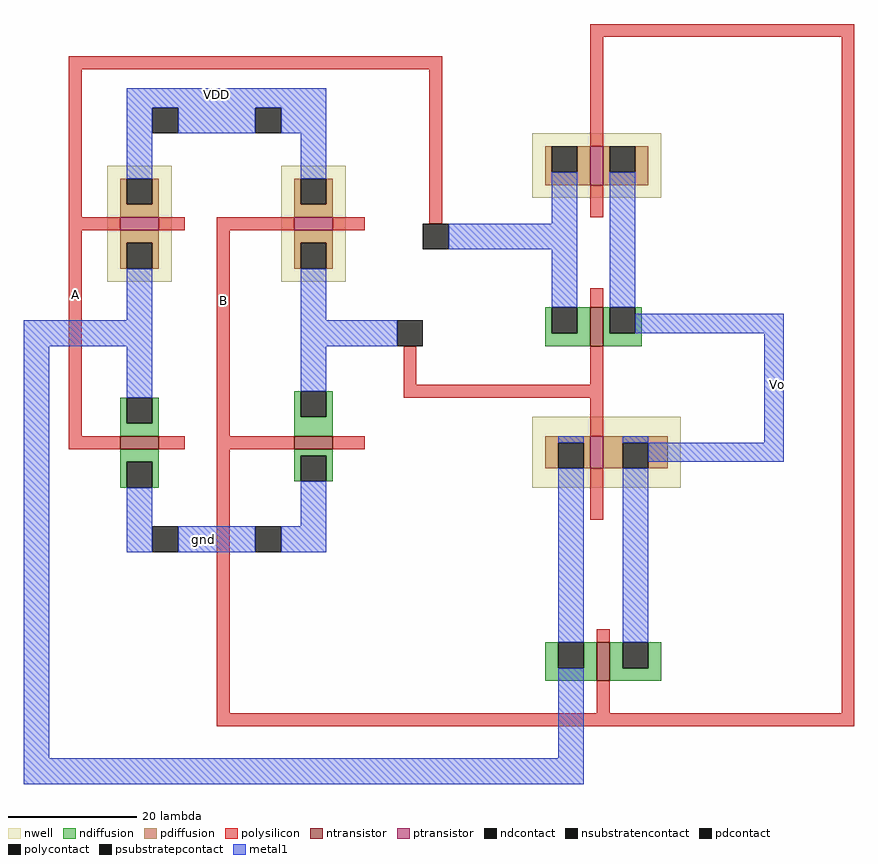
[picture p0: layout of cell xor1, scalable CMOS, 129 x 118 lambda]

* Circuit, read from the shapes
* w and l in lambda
.subckt xor1 A B VDD Vo gnd
M1 n1 A gnd gnd nfet w=6 l=2
M2 n2 B gnd gnd nfet w=6 l=2
M3 Vo n2 A gnd nfet w=6 l=2
M4 Vo B n1 gnd nfet w=6 l=2
M5 VDD A n1 n3 pfet w=6 l=2
M6 VDD B n2 n4 pfet w=6 l=2
M7 Vo n2 n1 n5 pfet w=5 l=2
M8 Vo B A n6 pfet w=6 l=2
.ends

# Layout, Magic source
magic
tech scmos
<< nwell >>
rect -20 -2 -10 16
rect 7 -2 17 16
rect 46 11 66 21
rect 46 -34 69 -23
<< polysilicon >>
rect 55 36 96 38
rect -26 31 32 33
rect -26 8 -24 31
rect -26 6 -18 8
rect -12 6 -8 8
rect -3 6 9 8
rect 15 6 20 8
rect 30 7 32 31
rect 55 19 57 36
rect 55 8 57 13
rect -26 -26 -24 6
rect -3 -26 -1 6
rect 55 -6 57 -3
rect 26 -18 28 -12
rect 55 -18 57 -12
rect 26 -20 57 -18
rect 55 -26 57 -20
rect -26 -28 -18 -26
rect -12 -28 -8 -26
rect -3 -28 9 -26
rect 15 -28 20 -26
rect -3 -69 -1 -28
rect 55 -39 57 -31
rect 56 -58 58 -56
rect 56 -69 58 -64
rect 94 -69 96 36
rect -3 -71 96 -69
<< ndiffusion >>
rect -18 -24 -17 -20
rect -13 -24 -12 -20
rect -18 -26 -12 -24
rect 48 -10 49 -6
rect 53 -10 55 -6
rect 48 -12 55 -10
rect 57 -10 58 -6
rect 62 -10 63 -6
rect 57 -12 63 -10
rect 9 -23 10 -19
rect 14 -23 15 -19
rect 9 -26 15 -23
rect -18 -30 -12 -28
rect -18 -34 -17 -30
rect -13 -34 -12 -30
rect 9 -29 15 -28
rect 9 -33 10 -29
rect 14 -33 15 -29
rect 48 -62 50 -58
rect 54 -62 56 -58
rect 48 -64 56 -62
rect 58 -62 60 -58
rect 64 -62 66 -58
rect 58 -64 66 -62
<< pdiffusion >>
rect -18 10 -17 14
rect -13 10 -12 14
rect -18 8 -12 10
rect 9 10 10 14
rect 14 10 15 14
rect 9 8 15 10
rect 48 15 49 19
rect 53 15 55 19
rect 48 13 55 15
rect 57 15 58 19
rect 62 15 64 19
rect 57 13 64 15
rect -18 4 -12 6
rect -18 0 -17 4
rect -13 0 -12 4
rect 9 4 15 6
rect 9 0 10 4
rect 14 0 15 4
rect 48 -27 55 -26
rect 48 -31 50 -27
rect 54 -31 55 -27
rect 57 -27 67 -26
rect 57 -31 60 -27
rect 64 -31 67 -27
<< metal1 >>
rect -17 25 14 28
rect -17 14 -13 25
rect -9 21 3 25
rect 7 21 14 25
rect 10 14 14 21
rect 49 7 53 15
rect -17 -8 -13 0
rect -33 -12 -13 -8
rect -33 -76 -29 -12
rect -17 -20 -13 -12
rect 33 3 53 7
rect 10 -8 14 0
rect 49 -6 53 3
rect 10 -12 25 -8
rect 58 -6 62 15
rect 62 -10 85 -7
rect 10 -19 14 -12
rect 50 -27 54 -26
rect -17 -44 -13 -34
rect 10 -40 14 -33
rect -9 -44 3 -40
rect 7 -44 14 -40
rect 50 -58 54 -31
rect 60 -27 64 -26
rect 82 -27 85 -10
rect 64 -30 85 -27
rect 60 -58 64 -31
rect 50 -76 54 -62
rect -33 -80 54 -76
<< ntransistor >>
rect 55 -12 57 -6
rect -18 -28 -12 -26
rect 9 -28 15 -26
rect 56 -64 58 -58
<< ptransistor >>
rect -18 6 -12 8
rect 9 6 15 8
rect 55 13 57 19
rect 55 -31 57 -26
<< polycontact >>
rect 29 3 33 7
rect 25 -12 29 -8
<< ndcontact >>
rect -17 -24 -13 -20
rect 49 -10 53 -6
rect 58 -10 62 -6
rect 10 -23 14 -19
rect -17 -34 -13 -30
rect 10 -33 14 -29
rect 50 -62 54 -58
rect 60 -62 64 -58
<< pdcontact >>
rect -17 10 -13 14
rect 10 10 14 14
rect 49 15 53 19
rect 58 15 62 19
rect -17 0 -13 4
rect 10 0 14 4
rect 50 -31 54 -27
rect 60 -31 64 -27
<< psubstratepcontact >>
rect -13 -44 -9 -40
rect 3 -44 7 -40
<< nsubstratencontact >>
rect -13 21 -9 25
rect 3 21 7 25
<< labels >>
rlabel polysilicon -25 -4 -25 -4 1 A
rlabel polysilicon -2 -5 -2 -5 1 B
rlabel metal1 84 -18 84 -18 1 Vo
rlabel metal1 -5 -42 -5 -42 1 gnd
rlabel metal1 -3 27 -3 27 1 VDD
<< end >>
